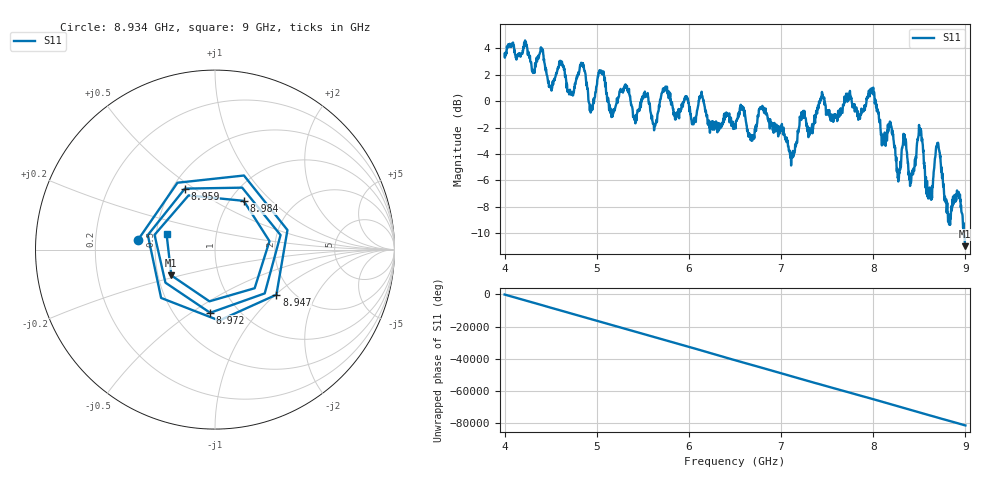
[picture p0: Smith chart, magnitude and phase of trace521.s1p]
! Created with skrf 1.8.0 (http://scikit-rf.org).
# Hz S RI R 50.0
!freq ReS11 ImS11
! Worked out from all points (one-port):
!   1601 points, 4 GHz to 9 GHz, reference 50 ohm
!   lowest |S11| = -11.0 dB at 8.997 GHz (marker M1), VSWR 1.79, Z = 29.4 - j9.19 ohm
!   |S11| at or under -10 dB: 8.983863 GHz to end of sweep
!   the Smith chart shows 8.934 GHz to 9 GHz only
!   S11 on the Smith chart (normalised r, x): 8.934 GHz: 0.40, +0.05; 8.947 GHz: 1.65, -1.01; 8.959 GHz: 0.58, +0.46; 8.972 GHz: 0.74, -0.60; 8.984 GHz: 1.16, +0.70; 9 GHz: 0.57, +0.11
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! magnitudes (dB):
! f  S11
! 4 GHz  3.6
! 4.625 GHz  2.8
! 4.725 GHz  0.5
! 4.847 GHz  2.8
! 4.938 GHz  -0.6
! 5.038 GHz  2.3
! 5.159 GHz  -1.2
! 5.25 GHz  0.7
! 5.875 GHz  -1.0
! 6.5 GHz  -1.9
! 6.797 GHz  -0.4
! 7.125 GHz  -4.3
! 7.228 GHz  -1.0
! 7.75 GHz  0.5
! 7.988 GHz  1.0
! 8.269 GHz  -5.7
! 8.375 GHz  -4.7
! 8.506 GHz  -2.5
! 8.6 GHz  -6.9
! 8.703 GHz  -3.2
! 8.822 GHz  -9.3
! 8.934 GHz  -7.3
! 8.947 GHz  -7.4
! 8.959 GHz  -8.4
! 8.972 GHz  -9.0
! 8.984 GHz  -10.0
! 8.997 GHz  -11.0
! 9 GHz  -10.9
